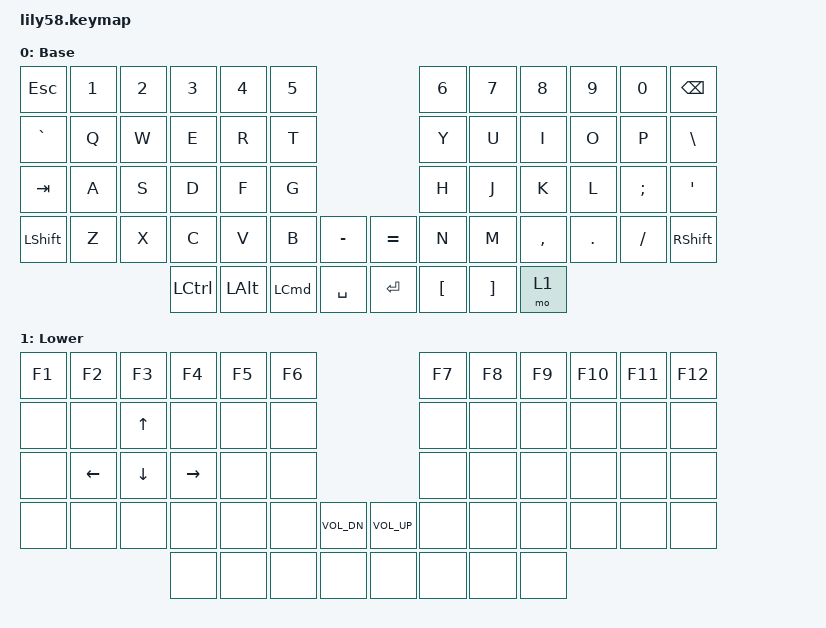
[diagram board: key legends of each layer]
/*
 * Copyright (c) 2020 The ZMK Contributors
 *
 * SPDX-License-Identifier: MIT
 *
 * https://nickcoutsos.github.io/keymap-editor/
 *
 */

#include <behaviors.dtsi>
#include <dt-bindings/zmk/keys.h>

/ {
    keymap {
        compatible = "zmk,keymap";

        default_layer {
            display-name = "Base";
            bindings = <
&kp ESC    &kp N1  &kp N2  &kp N3            &kp N4        &kp N5                                    &kp N6    &kp N7    &kp N8     &kp N9   &kp N0    &kp BACKSPACE
&kp GRAVE  &kp Q   &kp W   &kp E             &kp R         &kp T                                     &kp Y     &kp U     &kp I      &kp O    &kp P     &kp BSLH
&kp TAB    &kp A   &kp S   &kp D             &kp F         &kp G                                     &kp H     &kp J     &kp K      &kp L    &kp SEMI  &kp SQT
&kp LSHFT  &kp Z   &kp X   &kp C             &kp V         &kp B             &kp MINUS    &kp EQUAL  &kp N     &kp M     &kp COMMA  &kp DOT  &kp FSLH  &kp RSHFT
                           &kp LEFT_CONTROL  &kp LEFT_ALT  &kp LEFT_COMMAND  &kp SPACE    &kp RET    &kp LBKT  &kp RBKT  &mo 1
            >;
        };

        lower_layer {
            display-name = "Lower";
            bindings = <
&kp F1  &kp F2    &kp F3    &kp F4     &kp F5  &kp F6                                &kp F7  &kp F8  &kp F9  &kp F10  &kp F11  &kp F12
&none   &none     &kp UP    &none      &none   &none                                 &none   &none   &none   &none    &none    &none
&none   &kp LEFT  &kp DOWN  &kp RIGHT  &none   &none                                 &none   &none   &none   &none    &none    &none
&none   &none     &none     &none      &none   &none   &kp C_VOL_DN    &kp C_VOL_UP  &none   &none   &none   &none    &none    &none
                            &none      &none   &none   &none           &none         &none   &none   &none
            >;
        };
    };
};
